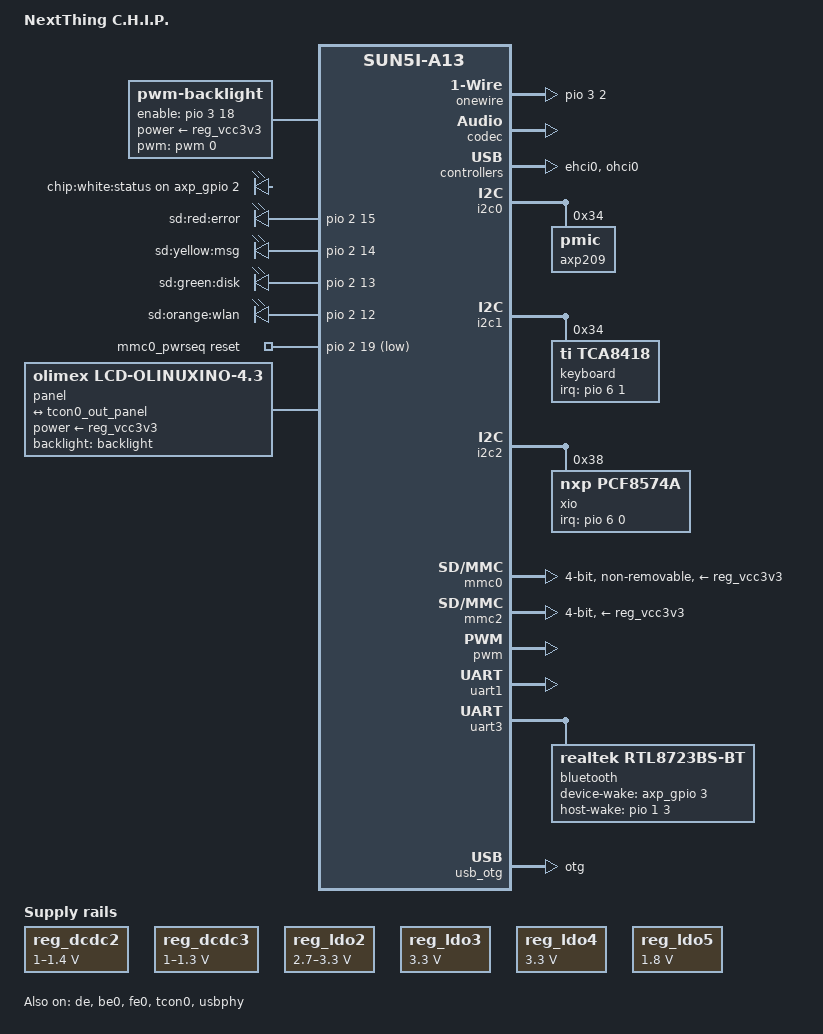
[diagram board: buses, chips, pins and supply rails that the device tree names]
/*
 * Copyright 2015 Free Electrons
 * Copyright 2015 NextThing Co
 *
 * Maxime Ripard <maxime.ripard@free-electrons.com>
 *
 * This file is dual-licensed: you can use it either under the terms
 * of the GPL or the X11 license, at your option. Note that this dual
 * licensing only applies to this file, and not this project as a
 * whole.
 *
 *  a) This file is free software; you can redistribute it and/or
 *     modify it under the terms of the GNU General Public License as
 *     published by the Free Software Foundation; either version 2 of the
 *     License, or (at your option) any later version.
 *
 *     This file is distributed in the hope that it will be useful,
 *     but WITHOUT ANY WARRANTY; without even the implied warranty of
 *     MERCHANTABILITY or FITNESS FOR A PARTICULAR PURPOSE.  See the
 *     GNU General Public License for more details.
 *
 * Or, alternatively,
 *
 *  b) Permission is hereby granted, free of charge, to any person
 *     obtaining a copy of this software and associated documentation
 *     files (the "Software"), to deal in the Software without
 *     restriction, including without limitation the rights to use,
 *     copy, modify, merge, publish, distribute, sublicense, and/or
 *     sell copies of the Software, and to permit persons to whom the
 *     Software is furnished to do so, subject to the following
 *     conditions:
 *
 *     The above copyright notice and this permission notice shall be
 *     included in all copies or substantial portions of the Software.
 *
 *     THE SOFTWARE IS PROVIDED "AS IS", WITHOUT WARRANTY OF ANY KIND,
 *     EXPRESS OR IMPLIED, INCLUDING BUT NOT LIMITED TO THE WARRANTIES
 *     OF MERCHANTABILITY, FITNESS FOR A PARTICULAR PURPOSE AND
 *     NONINFRINGEMENT. IN NO EVENT SHALL THE AUTHORS OR COPYRIGHT
 *     HOLDERS BE LIABLE FOR ANY CLAIM, DAMAGES OR OTHER LIABILITY,
 *     WHETHER IN AN ACTION OF CONTRACT, TORT OR OTHERWISE, ARISING
 *     FROM, OUT OF OR IN CONNECTION WITH THE SOFTWARE OR THE USE OR
 *     OTHER DEALINGS IN THE SOFTWARE.
 */

/**
 * ref: https://gist.github.com/macromorgan/b2b241635efc6f4eb84098499bcecb31
 */

/dts-v1/;
#include "sun5i-r8.dtsi"
#include "sunxi-common-regulators.dtsi"

#include <dt-bindings/gpio/gpio.h>
#include <dt-bindings/input/input.h>
#include <dt-bindings/interrupt-controller/irq.h>

/ {
	model = "NextThing C.H.I.P.";
	compatible = "nextthing,chip", "allwinner,sun5i-r8", "allwinner,sun5i-a13";

	aliases {
		i2c0 = &i2c0;
		i2c1 = &i2c1;
		i2c2 = &i2c2;
		serial0 = &uart1;
		serial1 = &uart3;
		spi0 = &spi2;
	};

	backlight: backlight {
		compatible = "pwm-backlight";
		pwms = <&pwm 0 8000 1>;
		power-supply = <&reg_vcc3v3>;
		brightness-levels = <0 1 2 4 8 12 16 24 28 32 100>;
		default-brightness-level = <8>;

		pinctrl-names = "default";
		pinctrl-0 = <&chip_bl_en>;
		enable-gpios = <&pio 3 18 GPIO_ACTIVE_HIGH>;
	};

	chosen {
		stdout-path = "serial0:115200n8";
	};

	leds {
		compatible = "gpio-leds";

		led-0 {
			label = "chip:white:status";
			gpios = <&axp_gpio 2 GPIO_ACTIVE_HIGH>;
			default-state = "on";
		};

		led-1 {
			label = "sd:red:error";
			gpios = <&pio 2 15 GPIO_ACTIVE_HIGH>; // PC15
			default-state = "off";
		};

		led-2 {
			label = "sd:yellow:msg";
			gpios = <&pio 2 14 GPIO_ACTIVE_HIGH>; // PC14
			default-state = "off";
		};

		led-3 {
			label = "sd:green:disk";
			gpios = <&pio 2 13 GPIO_ACTIVE_HIGH>; // PC13
			default-state = "off";
		};

		led-4 {
			label = "sd:orange:wlan";
			gpios = <&pio 2 12 GPIO_ACTIVE_HIGH>; // PC12
			default-state = "off";
		};

	};

	mmc0_pwrseq: mmc0_pwrseq {
		compatible = "mmc-pwrseq-simple";
		reset-gpios = <&pio 2 19 GPIO_ACTIVE_LOW>; /* PC19 */
	};

	onewire {
		compatible = "w1-gpio";
		gpios = <&pio 3 2 (GPIO_ACTIVE_HIGH | GPIO_PULL_UP)>; /* PD2 */
	};

	panel {
		#address-cells = <1>;
		#size-cells = <0>;
		power-supply = <&reg_vcc3v3>;
		compatible = "olimex,lcd-olinuxino-4.3";
		backlight = <&backlight>;

		port {
			panel_input: endpoint {
				remote-endpoint = <&tcon0_out_panel>;
			};
		};
	};
};

&de {
	status = "okay";
};

&be0 {
	status = "okay";
};

&codec {
	status = "okay";
};

&cpu0 {
	cpu-supply = <&reg_dcdc2>;
};

&ehci0 {
	status = "okay";
};

&fe0 {
	status = "okay";
};

&i2c0 {
	status = "okay";

	axp209: pmic@34 {
		reg = <0x34>;

		/*
		 * The interrupt is routed through the "External Fast
		 * Interrupt Request" pin (ball G13 of the module)
		 * directly to the main interrupt controller, without
		 * any other controller interfering.
		 */
		interrupts = <0>;
	};
};

#include "axp209.dtsi"

&ac_power_supply {
	status = "okay";
};

&battery_power_supply {
	status = "okay";
};

&i2c1 {
	status = "okay";
	#address-cells = <1>;
	#size-cells = <0>;
	pinctrl-names = "default";
	pinctrl-0 = <&i2c1_pins>;
	keyboard: keyboard@34 {
		compatible = "ti,tca8418";
		reg = <0x34>;
		interrupt-parent = <&pio>;
		interrupts = <6 1 IRQ_TYPE_EDGE_FALLING>;
		keypad,num-rows = <6>;
		keypad,num-columns = <10>;
		keypad,autorepeat;
		linux,keymap = <
			MATRIX_KEY(0, 1, KEY_1)
			MATRIX_KEY(0, 2, KEY_2)
			MATRIX_KEY(0, 3, KEY_3)
			MATRIX_KEY(0, 4, KEY_4)
			MATRIX_KEY(0, 5, KEY_5)
			MATRIX_KEY(0, 6, KEY_6)
			MATRIX_KEY(0, 7, KEY_7)
			MATRIX_KEY(0, 8, KEY_8)
			MATRIX_KEY(0, 9, KEY_9)
			MATRIX_KEY(1, 0, KEY_Q)
			MATRIX_KEY(1, 1, KEY_W)
			MATRIX_KEY(1, 2, KEY_E)
			MATRIX_KEY(1, 3, KEY_R)
			MATRIX_KEY(1, 4, KEY_T)
			MATRIX_KEY(1, 5, KEY_Y)
			MATRIX_KEY(1, 6, KEY_U)
			MATRIX_KEY(1, 7, KEY_I)
			MATRIX_KEY(1, 8, KEY_O)
			MATRIX_KEY(1, 9, KEY_P)
			MATRIX_KEY(2, 0, KEY_A)
			MATRIX_KEY(2, 1, KEY_S)
			MATRIX_KEY(2, 2, KEY_D)
			MATRIX_KEY(2, 3, KEY_F)
			MATRIX_KEY(2, 4, KEY_G)
			MATRIX_KEY(2, 5, KEY_H)
			MATRIX_KEY(2, 6, KEY_J)
			MATRIX_KEY(2, 7, KEY_K)
			MATRIX_KEY(2, 8, KEY_L)
			MATRIX_KEY(2, 9, KEY_ENTER)
			MATRIX_KEY(3, 0, KEY_TAB)
			MATRIX_KEY(3, 1, KEY_Z)
			MATRIX_KEY(3, 2, KEY_X)
			MATRIX_KEY(3, 3, KEY_C)
			MATRIX_KEY(3, 4, KEY_V)
			MATRIX_KEY(3, 5, KEY_B)
			MATRIX_KEY(3, 6, KEY_N)
			MATRIX_KEY(3, 7, KEY_M)
			MATRIX_KEY(3, 8, KEY_UP)
			MATRIX_KEY(3, 9, KEY_DOWN)
			MATRIX_KEY(4, 0, KEY_LEFTSHIFT)
			MATRIX_KEY(4, 1, KEY_RIGHTALT)
			MATRIX_KEY(4, 2, KEY_LEFTALT)
			MATRIX_KEY(4, 3, KEY_SPACE)
			MATRIX_KEY(4, 4, KEY_RIGHTCTRL)
			MATRIX_KEY(4, 5, KEY_SLASH)
			MATRIX_KEY(4, 6, KEY_RIGHTSHIFT)
			MATRIX_KEY(4, 8, KEY_LEFT)
			MATRIX_KEY(4, 9, KEY_RIGHT)
			MATRIX_KEY(5, 0, KEY_ESC)
			MATRIX_KEY(5, 1, KEY_0)
			MATRIX_KEY(5, 2, KEY_EQUAL)
			MATRIX_KEY(5, 3, KEY_BACKSPACE)
			MATRIX_KEY(5, 4, KEY_DOT)
		>;
	};
};

&i2c1_pins {
	drive-strength = <10>;
	bias-disable;
};

&lcd_rgb565_pins {
	drive-strength = <10>;
	bias-disable;
};

&i2c2 {
	status = "okay";

	xio: gpio@38 {
		compatible = "nxp,pcf8574a";
		reg = <0x38>;

		gpio-controller;
		#gpio-cells = <2>;

		interrupt-parent = <&pio>;
		interrupts = <6 0 IRQ_TYPE_EDGE_FALLING>;
		interrupt-controller;
		#interrupt-cells = <2>;
	};
};

&mmc0_pins {
	bias-pull-up;
};

&mmc0 {
	vmmc-supply = <&reg_vcc3v3>;
	mmc-pwrseq = <&mmc0_pwrseq>;
	bus-width = <4>;
	non-removable;
	status = "okay";
};

&mmc2 {
	pinctrl-names = "default";
	pinctrl-0 = <&mmc2_4bit_pc_pins>;
	vmmc-supply = <&reg_vcc3v3>;
	bus-width = <4>;
	broken-cd;
	status = "okay";
};

&ohci0 {
	status = "okay";
};

&otg_sram {
	status = "okay";
};

&pio {
	vcc-pb-supply = <&reg_vcc3v3>;
	vcc-pc-supply = <&reg_vcc3v3>;
	vcc-pd-supply = <&reg_vcc3v3>;
	vcc-pf-supply = <&reg_vcc3v3>;
	vcc-pg-supply = <&reg_vcc3v3>;
	chip_bl_en: chip_backlight_enable@0 {
		pins = "PD18";
		function = "gpio_out";
		drive-strength = <10>;
		bias-disable;
	};
};

&pwm {
	pinctrl-names = "default";
	pinctrl-0 = <&pwm0_pin>;
	status = "okay";
};

&pwm0_pin {
	drive-strength = <10>;
	bias-disable;
};

&reg_dcdc2 {
	regulator-min-microvolt = <1000000>;
	regulator-max-microvolt = <1400000>;
	regulator-name = "cpuvdd";
	regulator-always-on;
};

&reg_dcdc3 {
	regulator-min-microvolt = <1000000>;
	regulator-max-microvolt = <1300000>;
	regulator-name = "corevdd";
	regulator-always-on;
};

&reg_ldo1 {
	regulator-name = "rtcvdd";
};

&reg_ldo2 {
	regulator-min-microvolt = <2700000>;
	regulator-max-microvolt = <3300000>;
	regulator-name = "avcc";
	regulator-always-on;
};

/*
 * Both LDO3 and LDO4 are used in parallel to power up the WiFi/BT
 * Chip.
 *
 * If those are not enabled, the SDIO part will not enumerate, and
 * since there's no way currently to pass DT infos to an SDIO device,
 * we cannot really do better than this ugly hack for now.
 */
&reg_ldo3 {
	regulator-min-microvolt = <3300000>;
	regulator-max-microvolt = <3300000>;
	regulator-name = "vcc-wifi-1";
	regulator-always-on;
};

&reg_ldo4 {
	regulator-min-microvolt = <3300000>;
	regulator-max-microvolt = <3300000>;
	regulator-name = "vcc-wifi-2";
	regulator-always-on;
};

&reg_ldo5 {
	regulator-min-microvolt = <1800000>;
	regulator-max-microvolt = <1800000>;
	regulator-name = "vcc-1v8";
};

&reg_usb0_vbus {
	vin-supply = <&reg_vcc5v0>;
	gpio = <&pio 1 10 GPIO_ACTIVE_HIGH>; /* PB10 */
	status = "okay";
};

&rtp {
	touchscreen-inverted-x;
	touchscreen-inverted-y;
	allwinner,ts-attached;
};

&spi2 {
	pinctrl-names = "default";
	pinctrl-0 = <&spi2_pe_pins>;
	status = "disabled";
};

&tcon0 {
	pinctrl-names = "default";
	pinctrl-0 = <&lcd_rgb565_pins>;
	status = "okay";
};

&tcon0_out {
	tcon0_out_panel: endpoint {
		remote-endpoint = <&panel_input>;
	};
};

// &tve0 {
// 	status = "okay";
// };

&uart1 {
	pinctrl-names = "default";
	pinctrl-0 = <&uart1_pg_pins>;
	status = "okay";
};

&uart3 {
	pinctrl-names = "default";
	pinctrl-0 = <&uart3_pg_pins>,
		    <&uart3_cts_rts_pg_pins>;
	status = "okay";

	bluetooth {
		compatible = "realtek,rtl8723bs-bt";
		device-wake-gpios = <&axp_gpio 3 GPIO_ACTIVE_HIGH>;
		host-wake-gpios = <&pio 1 3 GPIO_ACTIVE_HIGH>; /* PB3 */
	};
};

&usb_otg {
	dr_mode = "otg";
	status = "okay";
};

&usb_power_supply {
	status = "okay";
};

&usbphy {
	status = "okay";

	// usb0_id_det-gpios = <&pio 6 2 GPIO_ACTIVE_HIGH>; /* PG2 */
	// usb0_vbus_power-supply = <&usb_power_supply>;
	// usb0_vbus-supply = <&reg_usb0_vbus>;
	usb1_vbus-supply = <&reg_vcc5v0>;
};
